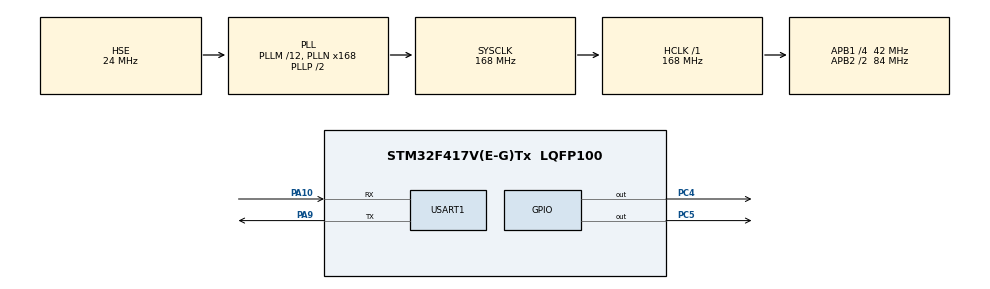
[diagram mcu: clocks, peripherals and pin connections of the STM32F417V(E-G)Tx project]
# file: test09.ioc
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FREERTOS.Events01=Event,Dynamic,NULL
FREERTOS.INCLUDE_xEventGroupSetBitFromISR=1
FREERTOS.Tasks01=LEDTask,24,128,StartLEDTask,As weak,NULL,Dynamic,NULL,NULL;Send,8,128,SendTask,Default,NULL,Dynamic,NULL,NULL;Receive,8,128,ReceiveTask,Default,NULL,Dynamic,NULL,NULL
FREERTOS.configUSE_NEWLIB_REENTRANT=1
Mcu.Family=STM32F4
Mcu.Name=STM32F417V(E-G)Tx
Mcu.Package=LQFP100
NVIC.PriorityGroup=NVIC_PRIORITYGROUP_4
NVIC.TIM1_UP_TIM10_IRQn=true\:15\:0\:false\:false\:true\:false\:false\:true\:true
NVIC.TimeBase=TIM1_UP_TIM10_IRQn
NVIC.TimeBaseIP=TIM1
NVIC.USART1_IRQn=true\:5\:0\:false\:false\:true\:true\:true\:true\:true
PA10.GPIO_ModeDefaultPP=GPIO_MODE_AF_PP
PA10.GPIO_PuPd=GPIO_PULLUP
PA10.GPIO_Speed=GPIO_SPEED_FREQ_HIGH
PA10.Mode=Asynchronous
PA10.Signal=USART1_RX
PA13.Mode=Trace_Synchro_2bits_SW
PA13.Signal=SYS_JTMS-SWDIO
PA14.Mode=Trace_Synchro_2bits_SW
PA14.Signal=SYS_JTCK-SWCLK
PA9.GPIO_ModeDefaultPP=GPIO_MODE_AF_PP
PA9.GPIO_PuPd=GPIO_PULLUP
PA9.GPIO_Speed=GPIO_SPEED_FREQ_HIGH
PA9.Mode=Asynchronous
PA9.Signal=USART1_TX
PC14-OSC32_IN.Mode=LSE-External-Oscillator
PC14-OSC32_IN.Signal=RCC_OSC32_IN
PC15-OSC32_OUT.Mode=LSE-External-Oscillator
PC15-OSC32_OUT.Signal=RCC_OSC32_OUT
PC4.GPIO_ModeDefaultOutputPP=GPIO_MODE_OUTPUT_PP
PC4.GPIO_PuPd=GPIO_PULLUP
PC4.GPIO_Speed=GPIO_SPEED_FREQ_HIGH
PC4.PinState=GPIO_PIN_SET
PC4.Signal=GPIO_Output
PC5.GPIO_ModeDefaultOutputPP=GPIO_MODE_OUTPUT_PP
PC5.GPIO_PuPd=GPIO_PULLUP
PC5.GPIO_Speed=GPIO_SPEED_FREQ_HIGH
PC5.PinState=GPIO_PIN_SET
PC5.Signal=GPIO_Output
PE2.Mode=Trace_Synchro_2bits_SW
PE2.Signal=SYS_TRACECLK
PE3.Mode=Trace_Synchro_2bits_SW
PE3.Signal=SYS_TRACED0
PE4.Mode=Trace_Synchro_2bits_SW
PE4.Signal=SYS_TRACED1
PH0-OSC_IN.Mode=HSE-External-Oscillator
PH0-OSC_IN.Signal=RCC_OSC_IN
PH1-OSC_OUT.Mode=HSE-External-Oscillator
PH1-OSC_OUT.Signal=RCC_OSC_OUT
ProjectManager.HeapSize=0x200
ProjectManager.StackSize=0x400
ProjectManager.TargetToolchain=STM32CubeIDE
RCC.48MHZClocksFreq_Value=84000000
RCC.AHBFreq_Value=168000000
RCC.APB1CLKDivider=RCC_HCLK_DIV4
RCC.APB1Freq_Value=42000000
RCC.APB1TimFreq_Value=84000000
RCC.APB2CLKDivider=RCC_HCLK_DIV2
RCC.APB2Freq_Value=84000000
RCC.APB2TimFreq_Value=168000000
RCC.CortexFreq_Value=168000000
RCC.HCLKFreq_Value=168000000
RCC.HSE_VALUE=24000000
RCC.HSI_VALUE=16000000
RCC.PLLM=12
RCC.PLLN=168
RCC.PLLSourceVirtual=RCC_PLLSOURCE_HSE
RCC.SYSCLKFreq_VALUE=168000000
RCC.SYSCLKSource=RCC_SYSCLKSOURCE_PLLCLK
RCC.VCOOutputFreq_Value=336000000
USART1.VirtualMode=VM_ASYNC
VP_FREERTOS_VS_CMSIS_V2.Mode=CMSIS_V2
VP_SYS_VS_tim1.Mode=TIM1
board=custom

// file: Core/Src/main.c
/* USER CODE BEGIN Header */
/**
  ******************************************************************************
  * @file           : main.c
  * @brief          : Main program body
  ******************************************************************************
  * @attention
  *
  * Copyright (c) 2022 STMicroelectronics.
  * All rights reserved.
  *
  * This software is licensed under terms that can be found in the LICENSE file
  * in the root directory of this software component.
  * If no LICENSE file comes with this software, it is provided AS-IS.
  *
  ******************************************************************************
  */
/* USER CODE END Header */
#include "main.h"
#include "cmsis_os.h"
#include "usart.h"
#include "gpio.h"

/* USER CODE BEGIN Includes */
#include "stdio.h"	//引用标准库
/* USER CODE END Includes */

void SystemClock_Config(void);
void MX_FREERTOS_Init(void);
/* USER CODE BEGIN PFP */
#ifdef __GNUC__
#define PUTCHAR_PROTOTYPE int __io_putchar(int ch)   //STM32CubeIDE
#else

#define PUTCHAR_PROTOTYPE int fputc(int ch, FILE *f)  //Keil

#endif
PUTCHAR_PROTOTYPE
{
	HAL_UART_Transmit(&huart1, (uint8_t*)&ch, 1, HAL_MAX_DELAY);
	return ch;
}

int _write(int file, char *ptr, int len)
{
	int DataIdx;

	for(DataIdx=0; DataIdx<len; DataIdx++)
	{
		__io_putchar(*ptr++);
	}

	return len;
}
/* USER CODE END PFP */

int main(void)
{

  /* MCU Configuration--------------------------------------------------------*/

  /* Reset of all peripherals, Initializes the Flash interface and the Systick. */
  HAL_Init();

  /* Configure the system clock */
  SystemClock_Config();

  /* Initialize all configured peripherals */
  MX_GPIO_Init();
  MX_USART1_UART_Init();

  /* Init scheduler */
  osKernelInitialize();  /* Call init function for freertos objects (in freertos.c) */
  MX_FREERTOS_Init();

  /* Start scheduler */
  osKernelStart();

  /* We should never get here as control is now taken by the scheduler */
  /* Infinite loop */
  while (1)
  {

  }
}

void SystemClock_Config(void)
{
  RCC_OscInitTypeDef RCC_OscInitStruct = {0};
  RCC_ClkInitTypeDef RCC_ClkInitStruct = {0};

  /** Configure the main internal regulator output voltage
  */
  __HAL_RCC_PWR_CLK_ENABLE();
  __HAL_PWR_VOLTAGESCALING_CONFIG(PWR_REGULATOR_VOLTAGE_SCALE1);

  /** Initializes the RCC Oscillators according to the specified parameters
  * in the RCC_OscInitTypeDef structure.
  */
  RCC_OscInitStruct.OscillatorType = RCC_OSCILLATORTYPE_HSE;
  RCC_OscInitStruct.HSEState = RCC_HSE_ON;
  RCC_OscInitStruct.PLL.PLLState = RCC_PLL_ON;
  RCC_OscInitStruct.PLL.PLLSource = RCC_PLLSOURCE_HSE;
  RCC_OscInitStruct.PLL.PLLM = 12;
  RCC_OscInitStruct.PLL.PLLN = 168;
  RCC_OscInitStruct.PLL.PLLP = RCC_PLLP_DIV2;
  RCC_OscInitStruct.PLL.PLLQ = 4;
  if (HAL_RCC_OscConfig(&RCC_OscInitStruct) != HAL_OK)
  {
    Error_Handler();
  }

  /** Initializes the CPU, AHB and APB buses clocks
  */
  RCC_ClkInitStruct.ClockType = RCC_CLOCKTYPE_HCLK|RCC_CLOCKTYPE_SYSCLK
                              |RCC_CLOCKTYPE_PCLK1|RCC_CLOCKTYPE_PCLK2;
  RCC_ClkInitStruct.SYSCLKSource = RCC_SYSCLKSOURCE_PLLCLK;
  RCC_ClkInitStruct.AHBCLKDivider = RCC_SYSCLK_DIV1;
  RCC_ClkInitStruct.APB1CLKDivider = RCC_HCLK_DIV4;
  RCC_ClkInitStruct.APB2CLKDivider = RCC_HCLK_DIV2;

  if (HAL_RCC_ClockConfig(&RCC_ClkInitStruct, FLASH_LATENCY_5) != HAL_OK)
  {
    Error_Handler();
  }
}

void HAL_TIM_PeriodElapsedCallback(TIM_HandleTypeDef *htim)
{
  if (htim->Instance == TIM1) {
    HAL_IncTick();
  }
}

void Error_Handler(void)
{
  __disable_irq();
  while (1)
  {
  }
}

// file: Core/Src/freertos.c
/* USER CODE BEGIN Header */
/**
  ******************************************************************************
  * File Name          : freertos.c
  * Description        : Code for freertos applications
  ******************************************************************************
  * @attention
  *
  * Copyright (c) 2022 STMicroelectronics.
  * All rights reserved.
  *
  * This software is licensed under terms that can be found in the LICENSE file
  * in the root directory of this software component.
  * If no LICENSE file comes with this software, it is provided AS-IS.
  *
  ******************************************************************************
  */
/* USER CODE END Header */

#include "FreeRTOS.h"
#include "task.h"
#include "main.h"
#include "cmsis_os.h"

/* USER CODE BEGIN Includes */
#include <stdio.h>
/* USER CODE END Includes */

/* USER CODE BEGIN PD */
#define EVENT_2 (0x01 << 0)	//设置事件掩码的位 0
#define EVENT_3 (0x01 << 1)	//设置事件掩码的位 1
/* USER CODE END PD */

/* Definitions for LEDTask */
osThreadId_t LEDTaskHandle;
const osThreadAttr_t LEDTask_attributes = {
  .name = "LEDTask",
  .stack_size = 128 * 4,
  .priority = (osPriority_t) osPriorityNormal,
};
/* Definitions for Send */
osThreadId_t SendHandle;
const osThreadAttr_t Send_attributes = {
  .name = "Send",
  .stack_size = 128 * 4,
  .priority = (osPriority_t) osPriorityLow,
};
/* Definitions for Receive */
osThreadId_t ReceiveHandle;
const osThreadAttr_t Receive_attributes = {
  .name = "Receive",
  .stack_size = 128 * 4,
  .priority = (osPriority_t) osPriorityLow,
};
/* Definitions for Event */
osEventFlagsId_t EventHandle;
const osEventFlagsAttr_t Event_attributes = {
  .name = "Event"
};

void StartLEDTask(void *argument);
void SendTask(void *argument);
void ReceiveTask(void *argument);

void MX_FREERTOS_Init(void); /* (MISRA C 2004 rule 8.1) */

void MX_FREERTOS_Init(void) {

  /* Create the thread(s) */
  /* creation of LEDTask */
  LEDTaskHandle = osThreadNew(StartLEDTask, NULL, &LEDTask_attributes);

  /* creation of Send */
  SendHandle = osThreadNew(SendTask, NULL, &Send_attributes);

  /* creation of Receive */
  ReceiveHandle = osThreadNew(ReceiveTask, NULL, &Receive_attributes);

  /* Create the event(s) */
  /* creation of Event */
  EventHandle = osEventFlagsNew(&Event_attributes);

}

__weak void StartLEDTask(void *argument)
{
  for(;;)
  {
    osDelay(1);
  }
}

void SendTask(void *argument)
{
  /* USER CODE BEGIN SendTask */
  uint8_t count=1;
  /* Infinite loop */
  for(;;)
  {
	if(count%10==0)
	{
		printf("EVENT_2 Send!\r\n");
		osEventFlagsSet(EventHandle, EVENT_2);
	}
	if(count%20==0)
	{
		printf("EVENT_3 Send!\r\n");
		osEventFlagsSet(EventHandle, EVENT_3);
	}
	count++;
    osDelay(500);
  }
  /* USER CODE END SendTask */
}

void ReceiveTask(void *argument)
{
  /* USER CODE BEGIN ReceiveTask */
  uint32_t r_event;  //定义事件接收变量
  /* Infinite loop */
  for(;;)
  {
	 r_event= osEventFlagsWait(EventHandle, EVENT_2|EVENT_3, osFlagsWaitAll, osWaitForever);
	//如果接收完成并且正确
	if((r_event & (EVENT_2|EVENT_3)) == (EVENT_2|EVENT_3))
	{
		HAL_GPIO_WritePin(GPIOC,GPIO_PIN_4,GPIO_PIN_SET);
		osDelay(1000);
		HAL_GPIO_WritePin(GPIOC,GPIO_PIN_4,GPIO_PIN_RESET);
		printf("EVENT_2 | EVENT_3 Done!\r\n");
	}
	else
	{
		printf("Event Error!\r\n");
	}
    osDelay(1000);
  }
  /* USER CODE END ReceiveTask */
}
